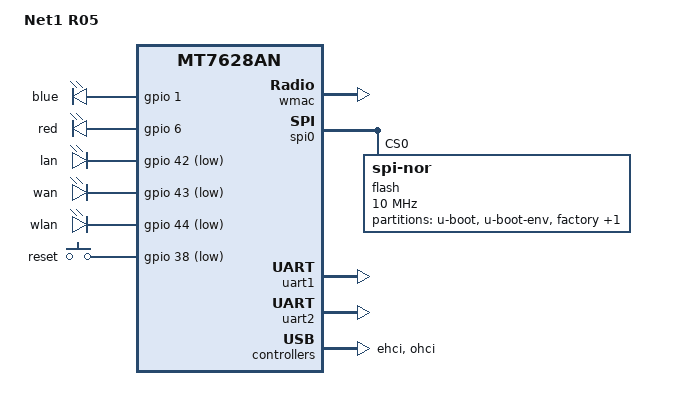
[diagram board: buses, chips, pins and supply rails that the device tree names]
#include "mt7628an.dtsi"

#include <dt-bindings/gpio/gpio.h>
#include <dt-bindings/input/input.h>
#include <dt-bindings/leds/common.h>

/ {
	compatible = "net1,r05", "mediatek,mt7628an-soc";
	model = "Net1 R05";

	aliases {
		led-boot = &led_blue;
		led-failsafe = &led_blue;
		led-running = &led_blue;
		led-upgrade = &led_blue;
		label-mac-device = &ethernet;
	};

	chosen {
		bootargs = "console=ttyS1,57600n8";
	};

	leds {
		compatible = "gpio-leds";

		led_blue: blue {
			label = "blue";
			gpios = <&gpio 1 GPIO_ACTIVE_HIGH>;
			default-state = "off";
			linux,default-trigger = "heartbeat";
		};

		led_red: red {
			label = "red";
			gpios = <&gpio 6 GPIO_ACTIVE_HIGH>;
			default-state = "off";
			linux,default-trigger = "off";
		};

		lan {
			label = "lan";
			gpios = <&gpio 42 GPIO_ACTIVE_LOW>;
			linux,default-trigger = "netdev";
		};

		wan {
			label = "wan";
			gpios = <&gpio 43 GPIO_ACTIVE_LOW>;
			linux,default-trigger = "netdev";
		};


		wlan {
			label = "wlan";
			gpios = <&gpio 44 GPIO_ACTIVE_LOW>;
			linux,default-trigger = "phy0tpt";
		};
	};

	keys {
		compatible = "gpio-keys";

		reset {
			label = "reset";
			gpios = <&gpio 38 GPIO_ACTIVE_LOW>;
			linux,code = <KEY_RESTART>;
			debounce-interval = <60>; 
		};
	};
};

&state_default {
	gpio {
		groups = "wdt", "gpio", "wled_an", "p0led_an", "p1led_an", "i2s", "i2c";
		function = "gpio";
	};
};

&ethernet {
	nvmem-cells = <&macaddr_factory_4>;
	nvmem-cell-names = "mac-address";
};

&wmac {
	status = "okay";
	nvmem-cells = <&eeprom_factory_0>;
	nvmem-cell-names = "eeprom";
};

&spi0 {
	status = "okay";

	flash@0 {
		compatible = "jedec,spi-nor";
		reg = <0>;
		spi-max-frequency = <10000000>;

		partitions {
			compatible = "fixed-partitions";
			#address-cells = <1>;
			#size-cells = <1>;

			partition@0 {
				label = "u-boot";
				reg = <0x0 0x30000>;
				read-only;
			};

			partition@30000 {
				label = "u-boot-env";
				reg = <0x30000 0x10000>;
				read-only;
			};

			partition@40000 {
				label = "factory";
				reg = <0x40000 0x10000>;
				read-only;

				nvmem-layout {
					compatible = "fixed-layout";
					#address-cells = <1>;
					#size-cells = <1>;

					eeprom_factory_0: eeprom@0 {
						reg = <0x0 0x400>;
					};

					macaddr_factory_4: macaddr@4 {
						reg = <0x4 0x6>;
					};
				};
			};

			partition@50000 {
				compatible = "denx,uimage";
				label = "firmware";
				reg = <0x50000 0xfb0000>;
			};
		};
	};
};

&uart1 {
	status = "okay";
};

&uart2 {
	status = "okay";
};

&ehci {
    status = "okay";
};

&ohci {
    status = "okay";
};
